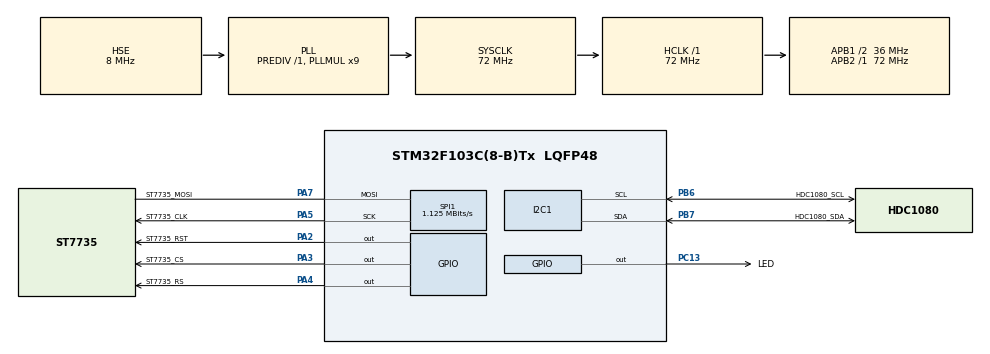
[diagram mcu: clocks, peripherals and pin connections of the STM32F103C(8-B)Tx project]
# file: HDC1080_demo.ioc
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Mcu.Family=STM32F1
Mcu.Name=STM32F103C(8-B)Tx
Mcu.Package=LQFP48
NVIC.PriorityGroup=NVIC_PRIORITYGROUP_4
PA2.GPIO_Label=ST7735_RST
PA2.Signal=GPIO_Output
PA3.GPIO_Label=ST7735_CS
PA3.Signal=GPIO_Output
PA4.GPIO_Label=ST7735_RS
PA4.Signal=GPIO_Output
PA5.GPIO_Label=ST7735_CLK
PA5.Mode=Simplex_Bidirectional_Master
PA5.Signal=SPI1_SCK
PA7.GPIO_Label=ST7735_MOSI
PA7.Mode=Simplex_Bidirectional_Master
PA7.Signal=SPI1_MOSI
PB6.GPIO_Label=HDC1080_SCL
PB6.Mode=I2C
PB6.Signal=I2C1_SCL
PB7.GPIO_Label=HDC1080_SDA
PB7.Mode=I2C
PB7.Signal=I2C1_SDA
PC13-TAMPER-RTC.GPIO_Label=LED
PC13-TAMPER-RTC.Signal=GPIO_Output
PC14-OSC32_IN.Mode=LSE-External-Oscillator
PC14-OSC32_IN.Signal=RCC_OSC32_IN
PC15-OSC32_OUT.Mode=LSE-External-Oscillator
PC15-OSC32_OUT.Signal=RCC_OSC32_OUT
PD0-OSC_IN.Mode=HSE-External-Oscillator
PD0-OSC_IN.Signal=RCC_OSC_IN
PD1-OSC_OUT.Mode=HSE-External-Oscillator
PD1-OSC_OUT.Signal=RCC_OSC_OUT
ProjectManager.HeapSize=0x200
ProjectManager.StackSize=0x400
ProjectManager.TargetToolchain=STM32CubeIDE
RCC.AHBFreq_Value=72000000
RCC.APB1CLKDivider=RCC_HCLK_DIV2
RCC.APB1Freq_Value=36000000
RCC.APB1TimFreq_Value=72000000
RCC.APB2Freq_Value=72000000
RCC.APB2TimFreq_Value=72000000
RCC.EnbaleCSS=true
RCC.HCLKFreq_Value=72000000
RCC.PLLMUL=RCC_PLL_MUL9
RCC.PLLSourceVirtual=RCC_PLLSOURCE_HSE
RCC.SYSCLKFreq_VALUE=72000000
RCC.SYSCLKSource=RCC_SYSCLKSOURCE_PLLCLK
RCC.USBFreq_Value=72000000
SPI1.BaudRatePrescaler=SPI_BAUDRATEPRESCALER_64
SPI1.CalculateBaudRate=1.125 MBits/s
SPI1.Direction=SPI_DIRECTION_1LINE
SPI1.Mode=SPI_MODE_MASTER
SPI1.VirtualType=VM_MASTER
VP_SYS_VS_ND.Mode=No_Debug
board=custom

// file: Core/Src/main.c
/* USER CODE BEGIN Header */
/**
  ******************************************************************************
  * @file           : main.c
  * @brief          : Main program body
  ******************************************************************************
  * @attention
  *
  * <h2><center>&copy; Copyright (c) 2021 STMicroelectronics.
  * All rights reserved.</center></h2>
  *
  * This software component is licensed by ST under BSD 3-Clause license,
  * the "License"; You may not use this file except in compliance with the
  * License. You may obtain a copy of the License at:
  *                        opensource.org/licenses/BSD-3-Clause
  *
  ******************************************************************************
  */
/* USER CODE END Header */
#include "main.h"

I2C_HandleTypeDef hi2c1;

SPI_HandleTypeDef hspi1;

void SystemClock_Config(void);
static void MX_GPIO_Init(void);
static void MX_I2C1_Init(void);
static void MX_SPI1_Init(void);

int main(void)
{
  /* USER CODE BEGIN 1 */
  unsigned char txt1[] = {"HDC1080 Demo"};
  unsigned char txt2[] = {"MFG. ID:"};
  unsigned char txt3[] = {"DVC. ID:"};
  unsigned char txt4[] = {"Temp./'C:"};
  unsigned char txt5[] = {"R.Hum./%:"};

  float t = 0.0;
  float rh = 0.0;
  /* USER CODE END 1 */

  /* MCU Configuration--------------------------------------------------------*/

  /* Reset of all peripherals, Initializes the Flash interface and the Systick. */
  HAL_Init();

  /* Configure the system clock */
  SystemClock_Config();

  /* Initialize all configured peripherals */
  MX_GPIO_Init();
  MX_I2C1_Init();
  MX_SPI1_Init();
  /* USER CODE BEGIN 2 */

  HDC1080_init();
  ST7735_init();

  TFT_fill(BLACK);

  print_str(6, 1, 2, WHITE, BLACK, txt1);
  print_str(1, 20, 2, GREEN, BLACK, txt2);
  print_str(1, 60, 2, GREEN, BLACK, txt3);

  print_I(1, 40, 2, RED, BLACK, HDC1080_read_manufacturer_ID());
  print_I(1, 80, 2, RED, BLACK, HDC1080_read_device_ID());

  HAL_Delay(900);

  TFT_fill(BLACK);
  print_str(6, 1, 2, WHITE, BLACK, txt1);

  print_str(1, 20, 3, YELLOW, BLACK, txt4);
  print_str(1, 70, 3, CYAN, BLACK, txt5);

  /* USER CODE END 2 */

  /* Infinite loop */
  while (1)
  {

  }
}

void SystemClock_Config(void)
{
  RCC_OscInitTypeDef RCC_OscInitStruct = {0};
  RCC_ClkInitTypeDef RCC_ClkInitStruct = {0};

  /** Initializes the RCC Oscillators according to the specified parameters
  * in the RCC_OscInitTypeDef structure.
  */
  RCC_OscInitStruct.OscillatorType = RCC_OSCILLATORTYPE_HSE;
  RCC_OscInitStruct.HSEState = RCC_HSE_ON;
  RCC_OscInitStruct.HSEPredivValue = RCC_HSE_PREDIV_DIV1;
  RCC_OscInitStruct.HSIState = RCC_HSI_ON;
  RCC_OscInitStruct.PLL.PLLState = RCC_PLL_ON;
  RCC_OscInitStruct.PLL.PLLSource = RCC_PLLSOURCE_HSE;
  RCC_OscInitStruct.PLL.PLLMUL = RCC_PLL_MUL9;
  if (HAL_RCC_OscConfig(&RCC_OscInitStruct) != HAL_OK)
  {
    Error_Handler();
  }
  /** Initializes the CPU, AHB and APB buses clocks
  */
  RCC_ClkInitStruct.ClockType = RCC_CLOCKTYPE_HCLK|RCC_CLOCKTYPE_SYSCLK
                              |RCC_CLOCKTYPE_PCLK1|RCC_CLOCKTYPE_PCLK2;
  RCC_ClkInitStruct.SYSCLKSource = RCC_SYSCLKSOURCE_PLLCLK;
  RCC_ClkInitStruct.AHBCLKDivider = RCC_SYSCLK_DIV1;
  RCC_ClkInitStruct.APB1CLKDivider = RCC_HCLK_DIV2;
  RCC_ClkInitStruct.APB2CLKDivider = RCC_HCLK_DIV1;

  if (HAL_RCC_ClockConfig(&RCC_ClkInitStruct, FLASH_LATENCY_2) != HAL_OK)
  {
    Error_Handler();
  }
  /** Enables the Clock Security System
  */
  HAL_RCC_EnableCSS();
}

static void MX_I2C1_Init(void)
{

  hi2c1.Instance = I2C1;
  hi2c1.Init.ClockSpeed = 100000;
  hi2c1.Init.DutyCycle = I2C_DUTYCYCLE_2;
  hi2c1.Init.OwnAddress1 = 0;
  hi2c1.Init.AddressingMode = I2C_ADDRESSINGMODE_7BIT;
  hi2c1.Init.DualAddressMode = I2C_DUALADDRESS_DISABLE;
  hi2c1.Init.OwnAddress2 = 0;
  hi2c1.Init.GeneralCallMode = I2C_GENERALCALL_DISABLE;
  hi2c1.Init.NoStretchMode = I2C_NOSTRETCH_DISABLE;
  if (HAL_I2C_Init(&hi2c1) != HAL_OK)
  {
    Error_Handler();
  }

}

static void MX_SPI1_Init(void)
{

  /* SPI1 parameter configuration*/
  hspi1.Instance = SPI1;
  hspi1.Init.Mode = SPI_MODE_MASTER;
  hspi1.Init.Direction = SPI_DIRECTION_1LINE;
  hspi1.Init.DataSize = SPI_DATASIZE_8BIT;
  hspi1.Init.CLKPolarity = SPI_POLARITY_LOW;
  hspi1.Init.CLKPhase = SPI_PHASE_1EDGE;
  hspi1.Init.NSS = SPI_NSS_SOFT;
  hspi1.Init.BaudRatePrescaler = SPI_BAUDRATEPRESCALER_64;
  hspi1.Init.FirstBit = SPI_FIRSTBIT_MSB;
  hspi1.Init.TIMode = SPI_TIMODE_DISABLE;
  hspi1.Init.CRCCalculation = SPI_CRCCALCULATION_DISABLE;
  hspi1.Init.CRCPolynomial = 10;
  if (HAL_SPI_Init(&hspi1) != HAL_OK)
  {
    Error_Handler();
  }

}

static void MX_GPIO_Init(void)
{
  GPIO_InitTypeDef GPIO_InitStruct = {0};

  /* GPIO Ports Clock Enable */
  __HAL_RCC_GPIOC_CLK_ENABLE();
  __HAL_RCC_GPIOD_CLK_ENABLE();
  __HAL_RCC_GPIOA_CLK_ENABLE();
  __HAL_RCC_GPIOB_CLK_ENABLE();

  /*Configure GPIO pin Output Level */
  HAL_GPIO_WritePin(LED_GPIO_Port, LED_Pin, GPIO_PIN_RESET);

  /*Configure GPIO pin Output Level */
  HAL_GPIO_WritePin(GPIOA, ST7735_RST_Pin|ST7735_CS_Pin|ST7735_RS_Pin, GPIO_PIN_RESET);

  /*Configure GPIO pin : LED_Pin */
  GPIO_InitStruct.Pin = LED_Pin;
  GPIO_InitStruct.Mode = GPIO_MODE_OUTPUT_PP;
  GPIO_InitStruct.Pull = GPIO_NOPULL;
  GPIO_InitStruct.Speed = GPIO_SPEED_FREQ_LOW;
  HAL_GPIO_Init(LED_GPIO_Port, &GPIO_InitStruct);

  /*Configure GPIO pins : ST7735_RST_Pin ST7735_CS_Pin ST7735_RS_Pin */
  GPIO_InitStruct.Pin = ST7735_RST_Pin|ST7735_CS_Pin|ST7735_RS_Pin;
  GPIO_InitStruct.Mode = GPIO_MODE_OUTPUT_PP;
  GPIO_InitStruct.Pull = GPIO_NOPULL;
  GPIO_InitStruct.Speed = GPIO_SPEED_FREQ_LOW;
  HAL_GPIO_Init(GPIOA, &GPIO_InitStruct);

}

void Error_Handler(void)
{
  __disable_irq();
  while (1)
  {
  }
}
